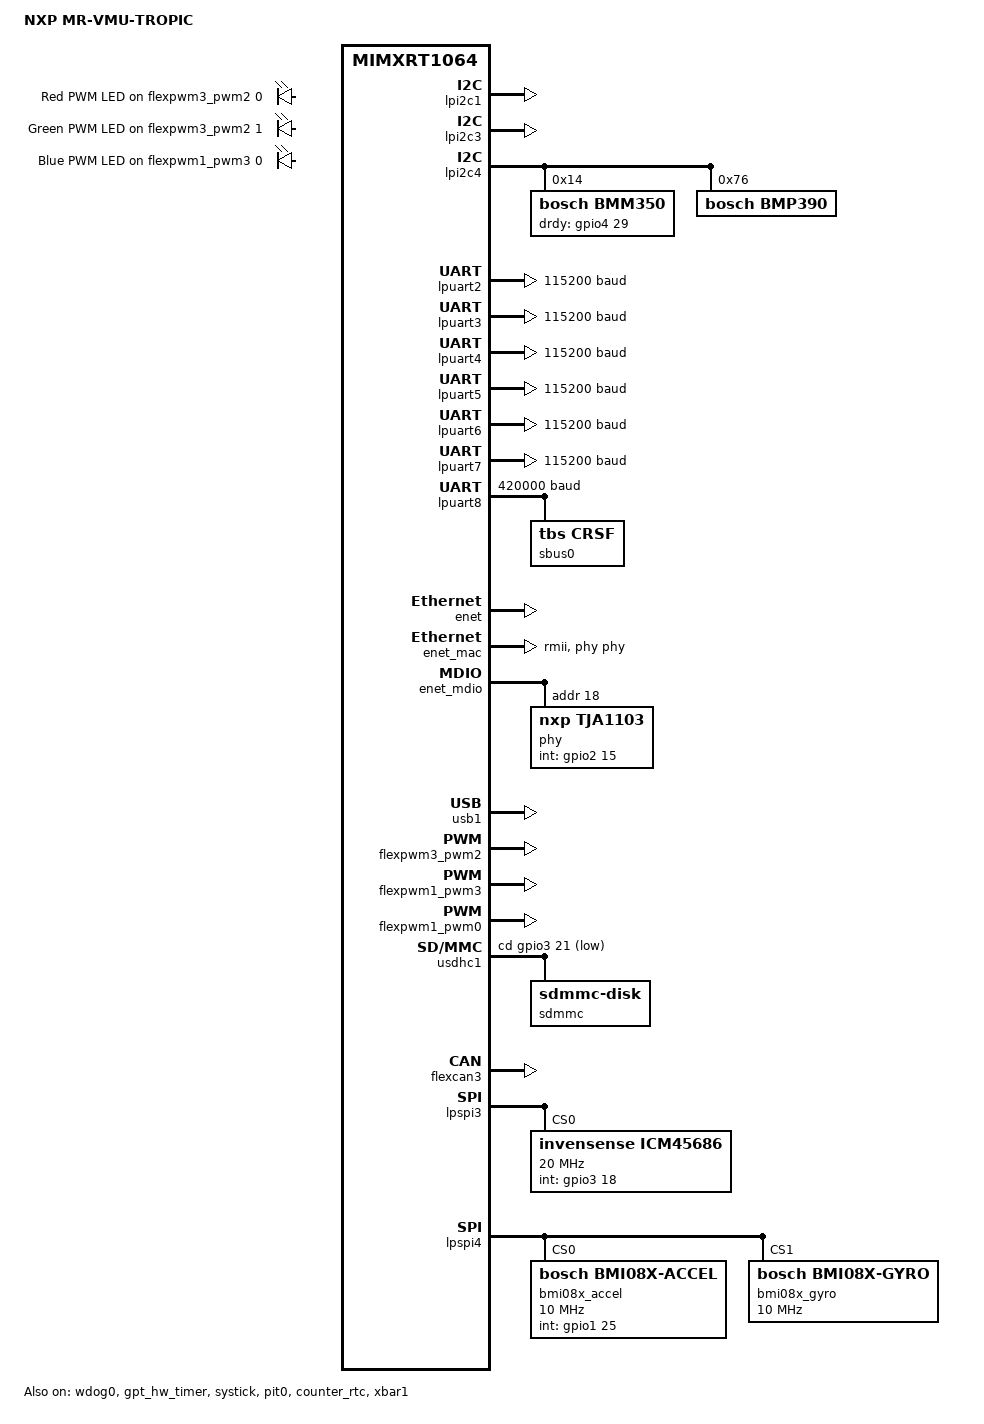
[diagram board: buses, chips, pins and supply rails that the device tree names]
/*
 * Copyright 2025 NXP
 * Copyright (c) 2026 CogniPilot Foundation
 *
 * SPDX-License-Identifier: Apache-2.0
 */

/dts-v1/;

#include <nxp/imxrt/imxrt10xx/nxp_rt1064.dtsi>
#include "mr_vmu_tropic-pinctrl.dtsi"
#include <zephyr/dt-bindings/input/input-event-codes.h>
#include <zephyr/dt-bindings/sensor/icm45686.h>
#include <zephyr/dt-bindings/led/led.h>

/ {
	model = "NXP MR-VMU-TROPIC";
	compatible = "nxp,mimxrt1064";

	aliases {
		sdhc0 = &usdhc1;
		rtc = &counter_rtc;
		pwm-led0 = &red_pwm_led;
		red-pwm-led = &red_pwm_led;
		green-pwm-led = &green_pwm_led;
		blue-pwm-led = &blue_pwm_led;
	};

	chosen {
		zephyr,flash = &w25q32jvwj0;
		zephyr,flash-controller = &soc_flash_ctrl;
		zephyr,code-partition = &slot0_partition;
		zephyr,uart-mcumgr = &lpuart6;
		zephyr,sram = &ocram2;
		zephyr,itcm = &itcm;
		zephyr,dtcm = &dtcm;
		zephyr,console = &lpuart6;
		zephyr,shell-uart = &lpuart6;
		zephyr,canbus = &flexcan3;
	};

	/*
	 * This is the Arming Button on the optional GPS module for 10 pin
	 * JST-GH, not fitted by default.
	 */
	gpio_keys {
		compatible = "gpio-keys";

		arming_button: button_0 {
			label = "Arming Switch";
			gpios = <&gpio2 12 (GPIO_PULL_DOWN | GPIO_ACTIVE_HIGH)>;
			zephyr,code = <INPUT_KEY_0>;
			status = "disabled";
		};
	};

	pwmleds {
		compatible = "pwm-leds";

		red_pwm_led: led_pwm_0 {
			pwms = <&flexpwm3_pwm2 0 PWM_MSEC(20) PWM_POLARITY_NORMAL>;
			label = "Red PWM LED";
		};

		green_pwm_led: led_pwm_1 {
			pwms = <&flexpwm3_pwm2 1 PWM_MSEC(20) PWM_POLARITY_NORMAL>;
			label = "Green PWM LED";
		};

		blue_pwm_led: led_pwm_2 {
			pwms = <&flexpwm1_pwm3 0 PWM_MSEC(20) PWM_POLARITY_NORMAL>;
			label = "Blue PWM LED";
		};
	};

	/* Buzzer on the optional GNSS module, not fitted by default. */
	buzzer0: buzzer0 {
		compatible = "pwm-buzzer";
		pwms = <&flexpwm1_pwm0 0 PWM_HZ(50) PWM_POLARITY_NORMAL>;
		status = "disabled";
	};
};

/* 256KB ITCM, 256KB DTCM mapping */
&flexram {
	flexram,bank-spec = <FLEXRAM_DTCM>,
			    <FLEXRAM_DTCM>,
			    <FLEXRAM_DTCM>,
			    <FLEXRAM_DTCM>,
			    <FLEXRAM_ITCM>,
			    <FLEXRAM_ITCM>,
			    <FLEXRAM_ITCM>,
			    <FLEXRAM_ITCM>,
			    <FLEXRAM_DTCM>,
			    <FLEXRAM_DTCM>,
			    <FLEXRAM_DTCM>,
			    <FLEXRAM_DTCM>,
			    <FLEXRAM_ITCM>,
			    <FLEXRAM_ITCM>,
			    <FLEXRAM_ITCM>,
			    <FLEXRAM_ITCM>;

	itcm: itcm@0 {
		reg = <0x00000000 DT_SIZE_K(256)>;
	};

	dtcm: dtcm@20000000 {
		reg = <0x20000000 DT_SIZE_K(256)>;
	};

	/delete-node/ ocram@20280000;
};

&lpi2c1 {
	status = "okay";

	pinctrl-0 = <&pinmux_lpi2c1>;
	pinctrl-names = "default";

	/* Compass on the optional GNSS module, not fitted by default. */
	ist8310: ist8310@e {
		compatible = "isentek,ist8310";
		reg = <0xe>;
		status = "disabled";
	};

	/* RGB LED controller on the optional GNSS module, not fitted by default. */
	ncp5623: ncp5623@39 {
		compatible = "onnn,ncp5623";
		reg = <0x39>;
		status = "disabled";

		led_0 {
			label = "GNSS LED";
			index = <0>;
			color-mapping = <LED_COLOR_ID_RED>,
					<LED_COLOR_ID_GREEN>,
					<LED_COLOR_ID_BLUE>;
		};
	};
};

&lpi2c3 {
	status = "okay";

	pinctrl-0 = <&pinmux_lpi2c3>;
	pinctrl-names = "default";
};

&lpi2c4 {
	status = "okay";

	pinctrl-0 = <&pinmux_lpi2c4>;
	pinctrl-names = "default";

	bmm350: bmm350@14 {
		compatible = "bosch,bmm350";
		reg = <0x14>;
		drdy-gpios = <&gpio4 29 GPIO_ACTIVE_HIGH>;
	};

	bmp390: bmp390@76 {
		compatible = "bosch,bmp390";
		reg = <0x76>;
		odr = "50";
	};
};

&w25q32jvwj0 {
	partitions {
		#address-cells = <1>;
		#size-cells = <1>;
		ranges;

		/*
		 * Partition sizes must be aligned
		 * to the flash memory sector size of 4KB.
		 */
		boot_partition: partition@0 {
			compatible = "zephyr,mapped-partition";
			label = "mcuboot";
			reg = <0x00000000 DT_SIZE_K(128)>;
		};

		slot0_partition: partition@20000 {
			compatible = "zephyr,mapped-partition";
			label = "image-0";
			reg = <0x00020000 DT_SIZE_K(1984)>;
		};

		slot1_partition: partition@210000 {
			compatible = "zephyr,mapped-partition";
			label = "image-1";
			reg = <0x00210000 DT_SIZE_K(1984)>;
		};
	};
};

&lpuart2 {
	status = "okay";
	pinctrl-0 = <&pinmux_lpuart2>;
	pinctrl-1 = <&pinmux_lpuart2_sleep>;
	pinctrl-names = "default", "sleep";
	current-speed = <115200>;
};

&lpuart3 {
	status = "okay";
	pinctrl-0 = <&pinmux_lpuart3>;
	pinctrl-1 = <&pinmux_lpuart3_sleep>;
	pinctrl-names = "default", "sleep";
	current-speed = <115200>;
};

&lpuart4 {
	status = "okay";
	pinctrl-0 = <&pinmux_lpuart4>;
	pinctrl-1 = <&pinmux_lpuart4_sleep>;
	pinctrl-names = "default", "sleep";
	current-speed = <115200>;
};

&lpuart5 {
	status = "okay";
	pinctrl-0 = <&pinmux_lpuart5>;
	pinctrl-1 = <&pinmux_lpuart5_sleep>;
	pinctrl-names = "default", "sleep";
	current-speed = <115200>;
};

&lpuart6 {
	status = "okay";
	pinctrl-0 = <&pinmux_lpuart6>;
	pinctrl-1 = <&pinmux_lpuart6_sleep>;
	pinctrl-names = "default", "sleep";
	current-speed = <115200>;
};

&lpuart7 {
	status = "okay";
	pinctrl-0 = <&pinmux_lpuart7>;
	pinctrl-1 = <&pinmux_lpuart7_sleep>;
	pinctrl-names = "default", "sleep";
	current-speed = <115200>;
	single-wire;
};

&lpuart8 {
	status = "okay";
	pinctrl-0 = <&pinmux_lpuart8>;
	pinctrl-1 = <&pinmux_lpuart8_sleep>;
	pinctrl-names = "default", "sleep";
	current-speed = <420000>;

	sbus0: sbus {
		compatible = "tbs,crsf";

		chan_1 {
			channel = <1>;
			type = <INPUT_EV_ABS>;
			zephyr,code = <1>;
		};

		chan_2 {
			channel = <2>;
			type = <INPUT_EV_ABS>;
			zephyr,code = <2>;
		};

		chan_3 {
			channel = <3>;
			type = <INPUT_EV_ABS>;
			zephyr,code = <3>;
		};

		chan_4 {
			channel = <4>;
			type = <INPUT_EV_ABS>;
			zephyr,code = <4>;
		};

		chan_5 {
			channel = <5>;
			type = <INPUT_EV_ABS>;
			zephyr,code = <5>;
		};

		chan_6 {
			channel = <6>;
			type = <INPUT_EV_ABS>;
			zephyr,code = <6>;
		};

		chan_7 {
			channel = <7>;
			type = <INPUT_EV_ABS>;
			zephyr,code = <7>;
		};

		chan_8 {
			channel = <8>;
			type = <INPUT_EV_ABS>;
			zephyr,code = <8>;
		};

		chan_9 {
			channel = <9>;
			type = <INPUT_EV_ABS>;
			zephyr,code = <9>;
		};

		chan_10 {
			channel = <10>;
			type = <INPUT_EV_ABS>;
			zephyr,code = <10>;
		};

		chan_11 {
			channel = <11>;
			type = <INPUT_EV_ABS>;
			zephyr,code = <11>;
		};

		chan_12 {
			channel = <12>;
			type = <INPUT_EV_ABS>;
			zephyr,code = <12>;
		};

		chan_13 {
			channel = <13>;
			type = <INPUT_EV_ABS>;
			zephyr,code = <13>;
		};

		chan_14 {
			channel = <14>;
			type = <INPUT_EV_ABS>;
			zephyr,code = <14>;
		};

		chan_15 {
			channel = <15>;
			type = <INPUT_EV_ABS>;
			zephyr,code = <15>;
		};

		chan_16 {
			channel = <16>;
			type = <INPUT_EV_ABS>;
			zephyr,code = <16>;
		};
	};
};

&enet {
	status = "okay";
	pinctrl-0 = <&pinmux_enet>;
	pinctrl-names = "default";
};

&enet_mac {
	status = "okay";
	phy-handle = <&phy>;
	nxp,unique-mac;
	phy-connection-type = "rmii";
};

/*
 * ENET PTP hardware clock (PHC): disabled by default in the SoC dtsi. Enabled
 * so a gPTP slave stack has a clock to discipline, giving the board a
 * GNSS-traceable timebase off the shared 802.1AS domain.
 */
&enet_ptp_clock {
	status = "okay";
};

&enet_mdio {
	status = "okay";
	pinctrl-0 = <&pinmux_enet_mdio>;
	pinctrl-names = "default";

	phy: phy@12 {
		compatible = "nxp,tja1103";
		reg = <0x12>;
		status = "okay";
		int-gpios = <&gpio2 15 GPIO_ACTIVE_HIGH>;
		master-slave = "auto";
	};
};

zephyr_udc0: &usb1 {
	status = "okay";
};

/* flexpwm output for board RGB Red/Blue LED */
&flexpwm3_pwm2 {
	status = "okay";
	pinctrl-0 = <&pinmux_flexpwm3_pwm2_rb>;
	pinctrl-names = "default";
	nxp,prescaler = <16>;
};

/* flexpwm output for board RGB Green LED */
&flexpwm1_pwm3 {
	status = "okay";
	pinctrl-0 = <&pinmux_flexpwm1_pwm3_g>;
	pinctrl-names = "default";
	nxp,prescaler = <16>;
};

/* flexpwm output for buzzer */
&flexpwm1_pwm0 {
	status = "okay";
	pinctrl-0 = <&pinmux_flexpwm1_pwm0_buzzer>;
	pinctrl-names = "default";
	nxp,prescaler = <128>;
};

&usdhc1 {
	status = "okay";
	no-1-8-v;
	cd-gpios = <&gpio3 21 GPIO_ACTIVE_LOW>;
	pinctrl-0 = <&pinmux_usdhc1>;
	pinctrl-1 = <&pinmux_usdhc1_slow>;
	pinctrl-2 = <&pinmux_usdhc1_med>;
	pinctrl-3 = <&pinmux_usdhc1_fast>;
	pinctrl-names = "default", "slow", "med", "fast";

	sdmmc {
		compatible = "zephyr,sdmmc-disk";
		disk-name = "SD";
		status = "okay";
	};
};

&edma0 {
	status = "okay";
};

&flexcan3 {
	status = "okay";
	pinctrl-0 = <&pinmux_flexcan3>;
	pinctrl-names = "default";

	can-transceiver {
		max-bitrate = <5000000>;
	};
};

&wdog0 {
	status = "okay";
};

&lpspi3 {
	status = "okay";
	/* DMA channels 2 and 3, muxed to LPSPI3 RX and TX */
	dmas = <&edma0 2 15>, <&edma0 3 16>;
	dma-names = "rx", "tx";
	pinctrl-0 = <&pinmux_lpspi3>;
	pinctrl-names = "default";

	icm45686: icm45686@0 {
		compatible = "invensense,icm45686";
		reg = <0>;
		int-gpios = <&gpio3 18 GPIO_ACTIVE_HIGH>;
		spi-max-frequency = <DT_FREQ_M(20)>;
		spi-cs-setup-delay-ns = <50>;
		spi-cs-hold-delay-ns = <50>;
		spi-interframe-delay-ns = <50>;
		accel-pwr-mode = <ICM45686_DT_ACCEL_LN>;
		accel-fs = <ICM45686_DT_ACCEL_FS_2>;
		accel-odr = <ICM45686_DT_ACCEL_ODR_400>;
		accel-lpf = <ICM45686_DT_ACCEL_LPF_BW_1_32>;
		gyro-pwr-mode = <ICM45686_DT_GYRO_LN>;
		gyro-fs = <ICM45686_DT_GYRO_FS_4000>;
		gyro-odr = <ICM45686_DT_GYRO_ODR_400>;
		gyro-lpf = <ICM45686_DT_GYRO_LPF_BW_1_32>;

		fifo-watermark = <1>;
	};
};

&lpspi4 {
	status = "okay";
	/* DMA channels 0 and 1, muxed to LPSPI4 RX and TX */
	dmas = <&edma0 0 79>, <&edma0 1 80>;
	dma-names = "rx", "tx";
	tristate-output;
	pinctrl-0 = <&pinmux_lpspi4>;
	pinctrl-names = "default";

	bmi08x_accel: bmi08x@0 {
		compatible = "bosch,bmi08x-accel";
		reg = <0>;
		int-gpios = <&gpio1 25 GPIO_ACTIVE_HIGH>;
		spi-max-frequency = <DT_FREQ_M(10)>;
		int1-map-io = <0x01>;
		int2-map-io = <0x00>;
		int1-conf-io = <0x04>;
		int2-conf-io = <0x00>;
		accel-hz = "800";
		accel-fs = <24>;
	};

	bmi08x_gyro: bmi08x@1 {
		compatible = "bosch,bmi08x-gyro";
		reg = <1>;
		spi-max-frequency = <DT_FREQ_M(10)>;
		int3-4-map-io = <0x01>;
		int3-4-conf-io = <0x02>;
		gyro-hz = "1000_116";
		gyro-fs = <1000>;
	};
};

/* GPT and Systick are enabled. If power management is enabled, the GPT
 * timer will be used instead of systick, as allows the core clock to
 * be gated.
 */
&gpt_hw_timer {
	status = "okay";
};

&systick {
	status = "okay";
};

&itm {
	pinctrl-0 = <&pinmux_swo>;
	pinctrl-names = "default";
};

&pit0 {
	status = "okay";
};

&counter_rtc {
	status = "okay";
};

&xbar1 {
	status = "okay";
};
